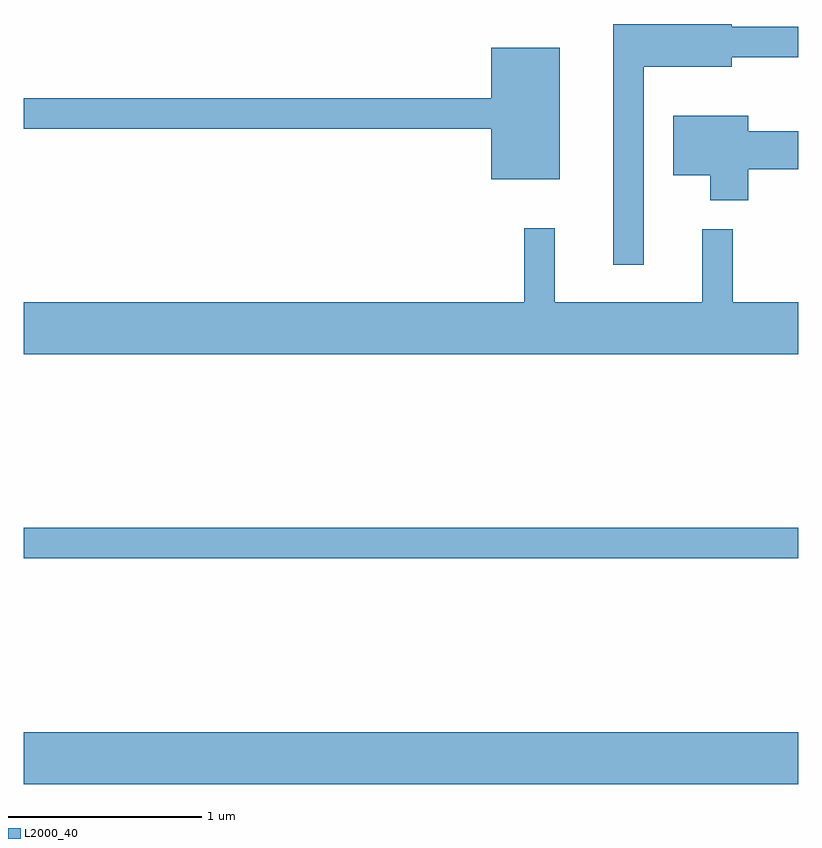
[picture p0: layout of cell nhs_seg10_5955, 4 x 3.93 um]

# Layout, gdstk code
import gdstk
lib = gdstk.Library(unit=1e-6, precision=1e-09)
def R(c, l, rs):  # rectangles x0, y0, x1, y1
    for r in rs: c.add(gdstk.rectangle(r[:2], r[2:], *l))
def P(c, l, *ps):  # polygons
    for p in ps: c.add(gdstk.Polygon(p, *l))
L2000_40 = (2000, 40)

nhs_seg10_5955 = lib.new_cell('nhs_seg10_5955')
R(nhs_seg10_5955, L2000_40, [(361.611,2100.596,365.611,2100.864), (361.611,2101.761,365.611,2101.919)])
P(nhs_seg10_5955, L2000_40, [(364.814,2104.301),(365.269,2104.301),(365.269,2104.351),(365.611,2104.351),(365.611,2104.509),(365.269,2104.509),(365.269,2104.522),(364.656,2104.522),(364.656,2103.278),(364.814,2103.278)],
  [(364.379,2104.399),(364.026,2104.399),(364.026,2104.139),(361.611,2104.139),(361.611,2103.981),(364.026,2103.981),(364.026,2103.721),(364.379,2103.721)],
  [(365.354,2103.771),(365.611,2103.771),(365.611,2103.969),(365.354,2103.969),(365.354,2104.049),(364.966,2104.049),(364.966,2103.741),(365.156,2103.741),(365.156,2103.611),(365.354,2103.611)],
  [(365.611,2103.084),(365.274,2103.084),(365.274,2103.463),(365.116,2103.463),(365.116,2103.084),(364.354,2103.084),(364.354,2103.468),(364.196,2103.468),(364.196,2103.084),(361.611,2103.084),(361.611,2102.816),(365.611,2102.816)])

lib.write_gds('nhs_seg10_5955.gds')
